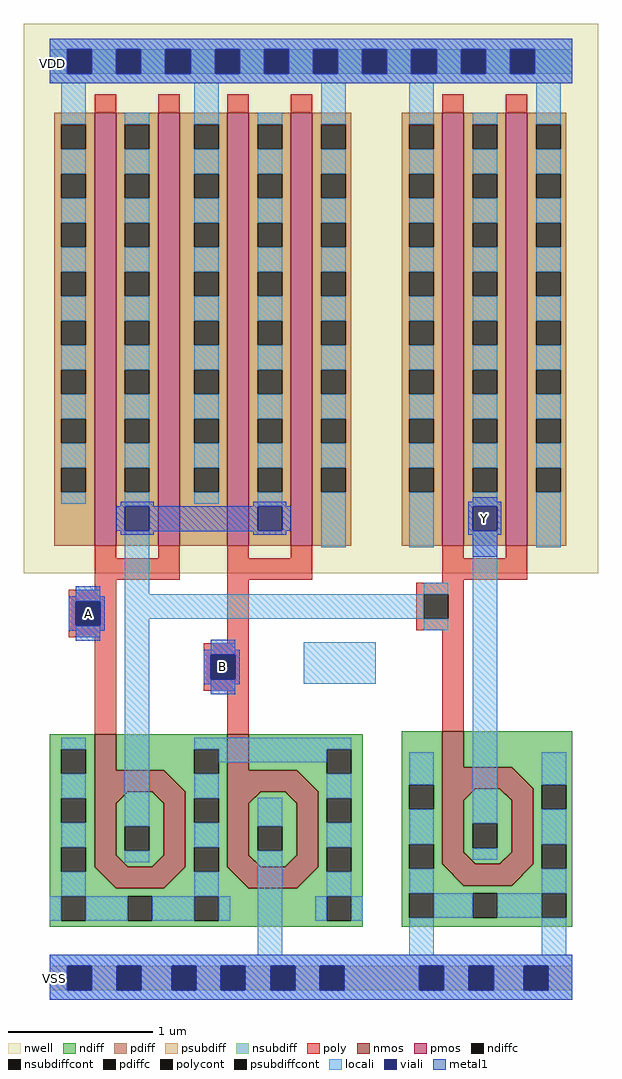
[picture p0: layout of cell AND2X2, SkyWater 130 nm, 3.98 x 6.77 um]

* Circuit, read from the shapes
.subckt AND2X2 A B Y VSS VDD
XM1 n1 A n2 VSS sky130_fd_pr__nfet_01v8 w=2.475 l=0.1454
XM2 n1 B VSS VSS sky130_fd_pr__nfet_01v8 w=2.475 l=0.1443
XM3 VSS n2 Y VSS sky130_fd_pr__nfet_01v8 w=2.475 l=0.1462
XM4 n2 A VDD VDD sky130_fd_pr__pfet_01v8 w=3 l=0.15 m=2
XM5 n2 B VDD VDD sky130_fd_pr__pfet_01v8 w=3 l=0.15 m=2
XM6 Y n2 VDD VDD sky130_fd_pr__pfet_01v8 w=3 l=0.15 m=2
.ends

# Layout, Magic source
magic
tech sky130A
magscale 1 2
<< nwell >>
rect 0 591 796 1353
<< nmos >>
rect 98 318 128 368
rect 98 288 194 318
tri 194 288 224 318 sw
rect 282 318 312 368
rect 98 184 128 288
tri 128 272 144 288 nw
tri 178 272 194 288 ne
tri 128 184 144 200 sw
tri 178 184 194 200 se
rect 194 184 224 288
rect 282 288 378 318
tri 378 288 408 318 sw
tri 98 154 128 184 ne
rect 128 154 194 184
tri 194 154 224 184 nw
rect 282 184 312 288
tri 312 272 328 288 nw
tri 362 272 378 288 ne
tri 312 184 328 200 sw
tri 362 184 378 200 se
rect 378 184 408 288
tri 282 154 312 184 ne
rect 312 154 378 184
tri 378 154 408 184 nw
rect 580 322 610 372
rect 580 292 676 322
tri 676 292 706 322 sw
rect 580 188 610 292
tri 610 276 626 292 nw
tri 660 276 676 292 ne
tri 610 188 626 204 sw
tri 660 188 676 204 se
rect 676 188 706 292
tri 580 158 610 188 ne
rect 610 158 676 188
tri 676 158 706 188 nw
<< pmos >>
rect 98 629 128 1229
rect 186 629 216 1229
rect 282 629 312 1229
rect 370 629 400 1229
rect 580 629 610 1229
rect 668 629 698 1229
<< ndiff >>
rect 36 347 98 368
rect 36 313 52 347
rect 86 313 98 347
rect 128 347 282 368
rect 128 318 236 347
rect 36 279 98 313
tri 194 288 224 318 ne
rect 224 313 236 318
rect 270 313 282 347
rect 312 347 470 368
rect 312 318 420 347
rect 36 245 52 279
rect 86 245 98 279
rect 36 211 98 245
rect 36 177 52 211
rect 86 177 98 211
tri 128 272 144 288 se
rect 144 272 178 288
tri 178 272 194 288 sw
rect 128 240 194 272
rect 128 206 140 240
rect 174 206 194 240
rect 128 200 194 206
tri 128 184 144 200 ne
rect 144 184 178 200
tri 178 184 194 200 nw
rect 224 279 282 313
tri 378 288 408 318 ne
rect 408 313 420 318
rect 454 313 470 347
rect 224 245 236 279
rect 270 245 282 279
rect 224 211 282 245
rect 36 154 98 177
tri 98 154 128 184 sw
tri 194 154 224 184 se
rect 224 177 236 211
rect 270 177 282 211
tri 312 272 328 288 se
rect 328 272 362 288
tri 362 272 378 288 sw
rect 312 240 378 272
rect 312 206 324 240
rect 358 206 378 240
rect 312 200 378 206
tri 312 184 328 200 ne
rect 328 184 362 200
tri 362 184 378 200 nw
rect 408 279 470 313
rect 408 245 420 279
rect 454 245 470 279
rect 408 211 470 245
rect 224 154 282 177
tri 282 154 312 184 sw
tri 378 154 408 184 se
rect 408 177 420 211
rect 454 177 470 211
rect 408 154 470 177
rect 36 143 470 154
rect 36 109 52 143
rect 86 109 144 143
rect 178 109 236 143
rect 270 109 420 143
rect 454 109 470 143
rect 36 101 470 109
rect 524 298 580 372
rect 610 322 760 372
rect 524 264 534 298
rect 568 264 580 298
tri 676 292 706 322 ne
rect 706 298 760 322
rect 524 215 580 264
rect 524 181 534 215
rect 568 181 580 215
tri 610 276 626 292 se
rect 626 276 660 292
tri 660 276 676 292 sw
rect 610 244 676 276
rect 610 210 622 244
rect 656 210 676 244
rect 610 204 676 210
tri 610 188 626 204 ne
rect 626 188 660 204
tri 660 188 676 204 nw
rect 706 264 718 298
rect 752 264 760 298
rect 706 215 760 264
rect 524 158 580 181
tri 580 158 610 188 sw
tri 676 158 706 188 se
rect 706 181 718 215
rect 752 181 760 215
rect 706 158 760 181
rect 524 147 760 158
rect 524 113 534 147
rect 568 113 622 147
rect 656 113 718 147
rect 752 113 760 147
rect 524 101 760 113
<< pdiff >>
rect 42 1213 98 1229
rect 42 1179 52 1213
rect 86 1179 98 1213
rect 42 1145 98 1179
rect 42 1111 52 1145
rect 86 1111 98 1145
rect 42 1077 98 1111
rect 42 1043 52 1077
rect 86 1043 98 1077
rect 42 1009 98 1043
rect 42 975 52 1009
rect 86 975 98 1009
rect 42 941 98 975
rect 42 907 52 941
rect 86 907 98 941
rect 42 873 98 907
rect 42 839 52 873
rect 86 839 98 873
rect 42 805 98 839
rect 42 771 52 805
rect 86 771 98 805
rect 42 737 98 771
rect 42 703 52 737
rect 86 703 98 737
rect 42 629 98 703
rect 128 1213 186 1229
rect 128 1179 140 1213
rect 174 1179 186 1213
rect 128 1145 186 1179
rect 128 1111 140 1145
rect 174 1111 186 1145
rect 128 1077 186 1111
rect 128 1043 140 1077
rect 174 1043 186 1077
rect 128 1009 186 1043
rect 128 975 140 1009
rect 174 975 186 1009
rect 128 941 186 975
rect 128 907 140 941
rect 174 907 186 941
rect 128 873 186 907
rect 128 839 140 873
rect 174 839 186 873
rect 128 805 186 839
rect 128 771 140 805
rect 174 771 186 805
rect 128 737 186 771
rect 128 703 140 737
rect 174 703 186 737
rect 128 629 186 703
rect 216 1213 282 1229
rect 216 1179 236 1213
rect 270 1179 282 1213
rect 216 1145 282 1179
rect 216 1111 236 1145
rect 270 1111 282 1145
rect 216 1077 282 1111
rect 216 1043 236 1077
rect 270 1043 282 1077
rect 216 1009 282 1043
rect 216 975 236 1009
rect 270 975 282 1009
rect 216 941 282 975
rect 216 907 236 941
rect 270 907 282 941
rect 216 873 282 907
rect 216 839 236 873
rect 270 839 282 873
rect 216 805 282 839
rect 216 771 236 805
rect 270 771 282 805
rect 216 737 282 771
rect 216 703 236 737
rect 270 703 282 737
rect 216 629 282 703
rect 312 1213 370 1229
rect 312 1179 324 1213
rect 358 1179 370 1213
rect 312 1145 370 1179
rect 312 1111 324 1145
rect 358 1111 370 1145
rect 312 1077 370 1111
rect 312 1043 324 1077
rect 358 1043 370 1077
rect 312 1009 370 1043
rect 312 975 324 1009
rect 358 975 370 1009
rect 312 941 370 975
rect 312 907 324 941
rect 358 907 370 941
rect 312 873 370 907
rect 312 839 324 873
rect 358 839 370 873
rect 312 805 370 839
rect 312 771 324 805
rect 358 771 370 805
rect 312 737 370 771
rect 312 703 324 737
rect 358 703 370 737
rect 312 629 370 703
rect 400 1213 454 1229
rect 400 1179 412 1213
rect 446 1179 454 1213
rect 400 1145 454 1179
rect 400 1111 412 1145
rect 446 1111 454 1145
rect 400 1077 454 1111
rect 400 1043 412 1077
rect 446 1043 454 1077
rect 400 1009 454 1043
rect 400 975 412 1009
rect 446 975 454 1009
rect 400 941 454 975
rect 400 907 412 941
rect 446 907 454 941
rect 400 873 454 907
rect 400 839 412 873
rect 446 839 454 873
rect 400 805 454 839
rect 400 771 412 805
rect 446 771 454 805
rect 400 737 454 771
rect 400 703 412 737
rect 446 703 454 737
rect 400 629 454 703
rect 524 1213 580 1229
rect 524 1179 534 1213
rect 568 1179 580 1213
rect 524 1145 580 1179
rect 524 1111 534 1145
rect 568 1111 580 1145
rect 524 1077 580 1111
rect 524 1043 534 1077
rect 568 1043 580 1077
rect 524 1009 580 1043
rect 524 975 534 1009
rect 568 975 580 1009
rect 524 941 580 975
rect 524 907 534 941
rect 568 907 580 941
rect 524 873 580 907
rect 524 839 534 873
rect 568 839 580 873
rect 524 805 580 839
rect 524 771 534 805
rect 568 771 580 805
rect 524 737 580 771
rect 524 703 534 737
rect 568 703 580 737
rect 524 629 580 703
rect 610 1213 668 1229
rect 610 1179 622 1213
rect 656 1179 668 1213
rect 610 1145 668 1179
rect 610 1111 622 1145
rect 656 1111 668 1145
rect 610 1077 668 1111
rect 610 1043 622 1077
rect 656 1043 668 1077
rect 610 1009 668 1043
rect 610 975 622 1009
rect 656 975 668 1009
rect 610 941 668 975
rect 610 907 622 941
rect 656 907 668 941
rect 610 873 668 907
rect 610 839 622 873
rect 656 839 668 873
rect 610 805 668 839
rect 610 771 622 805
rect 656 771 668 805
rect 610 737 668 771
rect 610 703 622 737
rect 656 703 668 737
rect 610 629 668 703
rect 698 1213 752 1229
rect 698 1179 710 1213
rect 744 1179 752 1213
rect 698 1145 752 1179
rect 698 1111 710 1145
rect 744 1111 752 1145
rect 698 1077 752 1111
rect 698 1043 710 1077
rect 744 1043 752 1077
rect 698 1009 752 1043
rect 698 975 710 1009
rect 744 975 752 1009
rect 698 941 752 975
rect 698 907 710 941
rect 744 907 752 941
rect 698 873 752 907
rect 698 839 710 873
rect 744 839 752 873
rect 698 805 752 839
rect 698 771 710 805
rect 744 771 752 805
rect 698 737 752 771
rect 698 703 710 737
rect 744 703 752 737
rect 698 629 752 703
<< ndiffc >>
rect 52 313 86 347
rect 236 313 270 347
rect 52 245 86 279
rect 52 177 86 211
rect 140 206 174 240
rect 420 313 454 347
rect 236 245 270 279
rect 236 177 270 211
rect 324 206 358 240
rect 420 245 454 279
rect 420 177 454 211
rect 52 109 86 143
rect 144 109 178 143
rect 236 109 270 143
rect 420 109 454 143
rect 534 264 568 298
rect 534 181 568 215
rect 622 210 656 244
rect 718 264 752 298
rect 718 181 752 215
rect 534 113 568 147
rect 622 113 656 147
rect 718 113 752 147
<< pdiffc >>
rect 52 1179 86 1213
rect 52 1111 86 1145
rect 52 1043 86 1077
rect 52 975 86 1009
rect 52 907 86 941
rect 52 839 86 873
rect 52 771 86 805
rect 52 703 86 737
rect 140 1179 174 1213
rect 140 1111 174 1145
rect 140 1043 174 1077
rect 140 975 174 1009
rect 140 907 174 941
rect 140 839 174 873
rect 140 771 174 805
rect 140 703 174 737
rect 236 1179 270 1213
rect 236 1111 270 1145
rect 236 1043 270 1077
rect 236 975 270 1009
rect 236 907 270 941
rect 236 839 270 873
rect 236 771 270 805
rect 236 703 270 737
rect 324 1179 358 1213
rect 324 1111 358 1145
rect 324 1043 358 1077
rect 324 975 358 1009
rect 324 907 358 941
rect 324 839 358 873
rect 324 771 358 805
rect 324 703 358 737
rect 412 1179 446 1213
rect 412 1111 446 1145
rect 412 1043 446 1077
rect 412 975 446 1009
rect 412 907 446 941
rect 412 839 446 873
rect 412 771 446 805
rect 412 703 446 737
rect 534 1179 568 1213
rect 534 1111 568 1145
rect 534 1043 568 1077
rect 534 975 568 1009
rect 534 907 568 941
rect 534 839 568 873
rect 534 771 568 805
rect 534 703 568 737
rect 622 1179 656 1213
rect 622 1111 656 1145
rect 622 1043 656 1077
rect 622 975 656 1009
rect 622 907 656 941
rect 622 839 656 873
rect 622 771 656 805
rect 622 703 656 737
rect 710 1179 744 1213
rect 710 1111 744 1145
rect 710 1043 744 1077
rect 710 975 744 1009
rect 710 907 744 941
rect 710 839 744 873
rect 710 771 744 805
rect 710 703 744 737
<< psubdiff >>
rect 36 13 60 47
rect 94 13 129 47
rect 163 13 205 47
rect 239 13 273 47
rect 307 13 342 47
rect 376 13 410 47
rect 444 13 548 47
rect 582 13 617 47
rect 651 13 693 47
rect 727 13 760 47
<< nsubdiff >>
rect 36 1283 60 1317
rect 94 1283 128 1317
rect 162 1283 196 1317
rect 231 1283 265 1317
rect 299 1283 333 1317
rect 367 1283 401 1317
rect 435 1283 469 1317
rect 503 1283 537 1317
rect 572 1283 606 1317
rect 640 1283 674 1317
rect 708 1283 760 1317
<< psubdiffcont >>
rect 60 13 94 47
rect 129 13 163 47
rect 205 13 239 47
rect 273 13 307 47
rect 342 13 376 47
rect 410 13 444 47
rect 548 13 582 47
rect 617 13 651 47
rect 693 13 727 47
<< nsubdiffcont >>
rect 60 1283 94 1317
rect 128 1283 162 1317
rect 196 1283 231 1317
rect 265 1283 299 1317
rect 333 1283 367 1317
rect 401 1283 435 1317
rect 469 1283 503 1317
rect 537 1283 572 1317
rect 606 1283 640 1317
rect 674 1283 708 1317
<< poly >>
rect 98 1229 128 1255
rect 186 1229 216 1255
rect 282 1229 312 1255
rect 370 1229 400 1255
rect 580 1229 610 1255
rect 668 1229 698 1255
rect 98 612 128 629
rect 186 612 216 629
rect 98 582 216 612
rect 282 612 312 629
rect 370 612 400 629
rect 282 582 400 612
rect 580 612 610 629
rect 668 612 698 629
rect 580 582 698 612
rect 98 568 128 582
rect 62 552 128 568
rect 62 518 72 552
rect 106 518 128 552
rect 62 502 128 518
rect 98 368 128 502
rect 282 494 312 582
rect 580 578 610 582
rect 544 562 610 578
rect 544 528 554 562
rect 588 528 610 562
rect 544 512 610 528
rect 249 478 312 494
rect 249 444 259 478
rect 293 444 312 478
rect 249 428 312 444
rect 282 368 312 428
rect 580 372 610 512
<< polycont >>
rect 72 518 106 552
rect 554 528 588 562
rect 259 444 293 478
<< locali >>
rect 36 1317 760 1332
rect 36 1283 60 1317
rect 94 1283 128 1317
rect 162 1283 196 1317
rect 231 1283 265 1317
rect 299 1283 333 1317
rect 367 1283 401 1317
rect 435 1283 469 1317
rect 503 1283 537 1317
rect 572 1283 606 1317
rect 640 1283 674 1317
rect 708 1283 760 1317
rect 36 1270 760 1283
rect 52 1213 86 1270
rect 52 1145 86 1179
rect 52 1077 86 1111
rect 52 1009 86 1043
rect 52 941 86 975
rect 52 873 86 907
rect 52 805 86 839
rect 52 737 86 771
rect 52 687 86 703
rect 140 1213 174 1229
rect 140 1145 174 1179
rect 140 1077 174 1111
rect 140 1009 174 1043
rect 140 941 174 975
rect 140 873 174 907
rect 140 805 174 839
rect 140 737 174 771
rect 140 684 174 703
rect 236 1213 270 1270
rect 236 1145 270 1179
rect 236 1077 270 1111
rect 236 1009 270 1043
rect 236 941 270 975
rect 236 873 270 907
rect 236 805 270 839
rect 236 737 270 771
rect 236 687 270 703
rect 324 1213 358 1229
rect 324 1145 358 1179
rect 324 1077 358 1111
rect 324 1009 358 1043
rect 324 941 358 975
rect 324 873 358 907
rect 324 805 358 839
rect 324 737 358 771
rect 324 684 358 703
rect 412 1213 446 1270
rect 412 1145 446 1179
rect 412 1077 446 1111
rect 412 1009 446 1043
rect 412 941 446 975
rect 412 873 446 907
rect 412 805 446 839
rect 412 737 446 771
rect 72 552 106 568
rect 72 502 106 518
rect 140 562 174 650
rect 412 627 446 703
rect 534 1213 568 1270
rect 534 1145 568 1179
rect 534 1077 568 1111
rect 534 1009 568 1043
rect 534 941 568 975
rect 534 873 568 907
rect 534 805 568 839
rect 534 737 568 771
rect 534 627 568 703
rect 622 1213 656 1229
rect 622 1145 656 1179
rect 622 1077 656 1111
rect 622 1009 656 1043
rect 622 941 656 975
rect 622 873 656 907
rect 622 805 656 839
rect 622 737 656 771
rect 622 684 656 703
rect 554 562 588 578
rect 140 528 554 562
rect 52 347 86 363
rect 52 279 86 313
rect 52 211 86 245
rect 140 240 174 528
rect 554 512 588 528
rect 259 478 293 494
rect 259 428 293 444
rect 388 438 488 495
rect 140 190 174 206
rect 236 347 454 363
rect 270 329 420 347
rect 236 279 270 313
rect 236 211 270 245
rect 52 143 86 177
rect 236 143 270 177
rect 324 240 358 280
rect 36 109 52 143
rect 86 109 144 143
rect 178 109 236 143
rect 270 109 286 143
rect 324 62 358 206
rect 420 279 454 313
rect 420 211 454 245
rect 420 143 454 177
rect 534 298 568 343
rect 534 215 568 264
rect 622 244 656 650
rect 710 1213 744 1270
rect 710 1145 744 1179
rect 710 1077 744 1111
rect 710 1009 744 1043
rect 710 941 744 975
rect 710 873 744 907
rect 710 805 744 839
rect 710 737 744 771
rect 710 627 744 703
rect 622 194 656 210
rect 718 298 752 343
rect 718 215 752 264
rect 534 147 568 181
rect 718 147 752 181
rect 404 109 420 143
rect 454 109 470 143
rect 568 113 622 147
rect 656 113 718 147
rect 534 62 568 113
rect 718 62 752 113
rect 36 47 760 62
rect 36 13 60 47
rect 94 13 129 47
rect 163 13 205 47
rect 239 13 273 47
rect 307 13 342 47
rect 376 13 410 47
rect 444 13 548 47
rect 582 13 617 47
rect 651 13 693 47
rect 727 13 760 47
rect 36 0 760 13
<< viali >>
rect 60 1283 94 1317
rect 128 1283 162 1317
rect 196 1283 231 1317
rect 265 1283 299 1317
rect 333 1283 367 1317
rect 401 1283 435 1317
rect 469 1283 503 1317
rect 537 1283 572 1317
rect 606 1283 640 1317
rect 674 1283 708 1317
rect 140 650 174 684
rect 324 650 358 684
rect 72 518 106 552
rect 622 650 656 684
rect 259 444 293 478
rect 60 13 94 47
rect 129 13 163 47
rect 205 13 239 47
rect 273 13 307 47
rect 342 13 376 47
rect 410 13 444 47
rect 548 13 582 47
rect 617 13 651 47
rect 693 13 727 47
<< metal1 >>
rect 36 1317 760 1332
rect 36 1283 60 1317
rect 94 1283 128 1317
rect 162 1283 196 1317
rect 231 1283 265 1317
rect 299 1283 333 1317
rect 367 1283 401 1317
rect 435 1283 469 1317
rect 503 1283 537 1317
rect 572 1283 606 1317
rect 640 1283 674 1317
rect 708 1283 760 1317
rect 36 1270 760 1283
rect 622 690 656 696
rect 134 684 180 690
rect 318 684 364 690
rect 616 684 662 690
rect 128 650 140 684
rect 174 650 324 684
rect 358 650 370 684
rect 616 650 622 684
rect 656 650 662 684
rect 134 649 364 650
rect 134 644 180 649
rect 318 644 364 649
rect 616 644 662 650
rect 622 614 656 644
rect 72 559 106 573
rect 62 552 112 559
rect 62 518 72 552
rect 106 518 112 552
rect 62 511 112 518
rect 72 497 106 511
rect 259 485 293 499
rect 249 478 299 485
rect 249 444 259 478
rect 293 444 299 478
rect 249 437 299 444
rect 259 423 293 437
rect 36 47 760 62
rect 36 13 60 47
rect 94 13 129 47
rect 163 13 205 47
rect 239 13 273 47
rect 307 13 342 47
rect 376 13 410 47
rect 444 13 548 47
rect 582 13 617 47
rect 651 13 693 47
rect 727 13 760 47
rect 36 0 760 13
<< labels >>
rlabel metal1 72 518 106 552 1 A
port 1 n
rlabel metal1 259 444 293 478 1 B
port 2 n
rlabel metal1 622 650 656 684 1 Y
port 3 n
rlabel metal1 42 29 42 29 1 VSS
port 4 n
rlabel metal1 39 1298 39 1298 1 VDD
port 5 n
<< end >>
